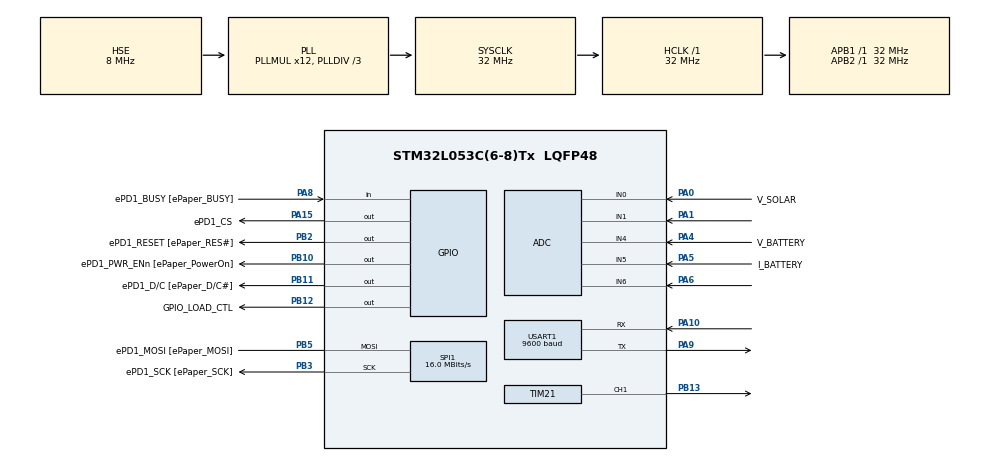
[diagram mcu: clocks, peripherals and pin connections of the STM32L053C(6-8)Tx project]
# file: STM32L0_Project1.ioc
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ADC.ClockPrescaler=ADC_CLOCK_ASYNC_DIV2
ADC.ContinuousConvMode=DISABLE
ADC.DMAContinuousRequests=ENABLE
ADC.DiscontinuousConvMode=ENABLE
ADC.EOCSelection=ADC_EOC_SEQ_CONV
ADC.EnableAnalogWatchDog=false
ADC.ExternalTrigConv=ADC_EXTERNALTRIGCONV_T6_TRGO
ADC.LowPowerAutoWait=DISABLE
ADC.LowPowerFrequencyMode=ENABLE
ADC.Overrun=ADC_OVR_DATA_PRESERVED
ADC.SamplingTime=ADC_SAMPLETIME_7CYCLES_5
Dma.ADC.0.Direction=DMA_PERIPH_TO_MEMORY
Dma.ADC.0.Instance=DMA1_Channel1
Dma.ADC.0.MemDataAlignment=DMA_MDATAALIGN_WORD
Dma.ADC.0.MemInc=DMA_MINC_ENABLE
Dma.ADC.0.Mode=DMA_CIRCULAR
Dma.ADC.0.PeriphDataAlignment=DMA_PDATAALIGN_WORD
Dma.ADC.0.PeriphInc=DMA_PINC_DISABLE
Dma.ADC.0.Priority=DMA_PRIORITY_MEDIUM
Dma.Request0=ADC
Dma.Request1=USART1_TX
Dma.USART1_TX.1.Direction=DMA_MEMORY_TO_PERIPH
Dma.USART1_TX.1.Instance=DMA1_Channel2
Dma.USART1_TX.1.MemDataAlignment=DMA_MDATAALIGN_BYTE
Dma.USART1_TX.1.MemInc=DMA_MINC_ENABLE
Dma.USART1_TX.1.Mode=DMA_NORMAL
Dma.USART1_TX.1.PeriphDataAlignment=DMA_PDATAALIGN_BYTE
Dma.USART1_TX.1.PeriphInc=DMA_PINC_DISABLE
Dma.USART1_TX.1.Priority=DMA_PRIORITY_LOW
Mcu.Family=STM32L0
Mcu.Name=STM32L053C(6-8)Tx
Mcu.Package=LQFP48
NVIC.DMA1_Channel1_IRQn=true\:0\:0\:false\:false\:true\:false\:true\:true
NVIC.DMA1_Channel2_3_IRQn=true\:0\:0\:false\:false\:true\:false\:true\:true
NVIC.USART1_IRQn=true\:0\:0\:false\:false\:true\:true\:true\:true
PA0.GPIO_Label=V_SOLAR
PA0.Mode=IN0
PA0.Signal=ADC_IN0
PA1.Mode=IN1
PA1.Signal=ADC_IN1
PA10.Mode=Asynchronous
PA10.Signal=USART1_RX
PA13.GPIO_Label=SWDIO
PA13.Mode=Serial_Wire
PA13.Signal=SYS_SWDIO
PA14.GPIO_Label=SWCLK
PA14.Mode=Serial_Wire
PA14.Signal=SYS_SWCLK
PA15.GPIO_Label=ePD1_CS
PA15.Signal=GPIO_Output
PA4.GPIO_Label=V_BATTERY
PA4.Mode=IN4
PA4.Signal=ADC_IN4
PA5.GPIO_Label=I_BATTERY
PA5.Mode=IN5
PA5.Signal=ADC_IN5
PA6.Mode=IN6
PA6.Signal=ADC_IN6
PA8.GPIO_Label=ePD1_BUSY [ePaper_BUSY]
PA8.GPIO_Mode=GPIO_MODE_INPUT
PA8.GPIO_PuPd=GPIO_NOPULL
PA8.Signal=GPIO_Input
PA9.Mode=Asynchronous
PA9.Signal=USART1_TX
PB10.GPIO_Label=ePD1_PWR_ENn [ePaper_PowerOn]
PB10.GPIO_ModeDefaultOutputPP=GPIO_MODE_OUTPUT_PP
PB10.GPIO_PuPd=GPIO_NOPULL
PB10.GPIO_Speed=GPIO_SPEED_FREQ_LOW
PB10.Signal=GPIO_Output
PB11.GPIO_Label=ePD1_D/C [ePaper_D/C\#]
PB11.GPIO_ModeDefaultOutputPP=GPIO_MODE_OUTPUT_PP
PB11.GPIO_PuPd=GPIO_NOPULL
PB11.GPIO_Speed=GPIO_SPEED_FREQ_LOW
PB11.Signal=GPIO_Output
PB12.GPIO_Label=GPIO_LOAD_CTL
PB12.GPIO_PuPd=GPIO_NOPULL
PB12.GPIO_Speed=GPIO_SPEED_FREQ_LOW
PB12.PinState=GPIO_PIN_RESET
PB12.Signal=GPIO_Output
PB13.Signal=S_TIM21_CH1
PB2.GPIO_Label=ePD1_RESET [ePaper_RES\#]
PB2.GPIO_ModeDefaultOutputPP=GPIO_MODE_OUTPUT_PP
PB2.GPIO_PuPd=GPIO_NOPULL
PB2.GPIO_Speed=GPIO_SPEED_FREQ_LOW
PB2.Signal=GPIO_Output
PB3.GPIO_Label=ePD1_SCK [ePaper_SCK]
PB3.GPIO_Mode=GPIO_MODE_AF_PP
PB3.GPIO_PuPd=GPIO_NOPULL
PB3.GPIO_Speed=GPIO_SPEED_FREQ_LOW
PB3.Mode=Simplex_Bidirectional_Master
PB3.Signal=SPI1_SCK
PB5.GPIO_Label=ePD1_MOSI [ePaper_MOSI]
PB5.GPIO_Mode=GPIO_MODE_AF_PP
PB5.GPIO_PuPd=GPIO_NOPULL
PB5.GPIO_Speed=GPIO_SPEED_FREQ_LOW
PB5.Mode=Simplex_Bidirectional_Master
PB5.Signal=SPI1_MOSI
PB8.GPIO_Label=MFX_I2C_SCL
PB8.GPIO_Pu=GPIO_PULLUP
PB8.Signal=I2C1_SCL
PB9.GPIO_Label=MFX_I2C_SDA
PB9.GPIO_Pu=GPIO_PULLUP
PB9.Signal=I2C1_SDA
PC14-OSC32_IN.GPIO_Label=PC14-OSC32_IN
PC14-OSC32_IN.Signal=RCC_OSC32_IN
PC15-OSC32_OUT.GPIO_Label=PC15-OSC32_OUT
PC15-OSC32_OUT.Signal=RCC_OSC32_OUT
PH0-OSC_IN.GPIO_Label=MCO
PH0-OSC_IN.Mode=HSE-External-Clock-Source
PH0-OSC_IN.Signal=RCC_OSC_IN
ProjectManager.HeapSize=0x200
ProjectManager.StackSize=0x400
ProjectManager.TargetToolchain=STM32CubeIDE
RCC.AHBFreq_Value=32000000
RCC.APB1Freq_Value=32000000
RCC.APB1TimFreq_Value=32000000
RCC.APB2Freq_Value=32000000
RCC.APB2TimFreq_Value=32000000
RCC.HCLKFreq_Value=32000000
RCC.HSE_VALUE=8000000
RCC.HSI16_VALUE=16000000
RCC.HSI48MClockSelection=RCC_USBCLKSOURCE_HSI48
RCC.HSI48_VALUE=48000000
RCC.HSI_VALUE=16000000
RCC.LSE_VALUE=32768
RCC.MSI_VALUE=2097000
RCC.PLLDIV=RCC_PLLDIV_3
RCC.PLLMUL=RCC_PLLMUL_12
RCC.PLLSourceVirtual=RCC_PLLSOURCE_HSE
RCC.RTCClockSelectionVirtual=RCC_RTCCLKSOURCE_LSE
RCC.SYSCLKFreq_VALUE=32000000
RCC.SYSCLKSource=RCC_SYSCLKSOURCE_PLLCLK
RCC.VCOOutputFreq_Value=96000000
SH.S_TIM21_CH1.0=TIM21_CH1,PWM Generation1 CH1
SPI1.CalculateBaudRate=16.0 MBits/s
SPI1.Direction=SPI_DIRECTION_1LINE
SPI1.Mode=SPI_MODE_MASTER
SPI1.NSS-Simplex_Bidirectional_Master=SPI_NSS_HARD_OUTPUT
SPI1.VirtualType=VM_MASTER
TIM21.Channel-PWM\ Generation1\ CH1=TIM_CHANNEL_1
TIM21.OCPolarity_1=TIM_OCPOLARITY_HIGH
TIM21.Period=640
TIM21.Pulse-PWM\ Generation1\ CH1=128
TIM6.AutoReloadPreload=TIM_AUTORELOAD_PRELOAD_DISABLE
TIM6.Period=1920
TIM6.TIM_MasterOutputTrigger=TIM_TRGO_UPDATE
USART1.BaudRate=9600
USART1.Mode=MODE_TX
USART1.VirtualMode-Asynchronous=VM_ASYNC
VP_TIM21_VS_ClockSourceINT.Mode=Internal
VP_TIM6_VS_ClockSourceINT.Mode=Enable_Timer
board=STM32L0538-DISCO

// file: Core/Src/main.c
/* USER CODE BEGIN Header */
/**
 ******************************************************************************
 * @file           : main.c
 * @brief          : Main program body
 ******************************************************************************
 * @attention
 *
 * Copyright (c) 2024 STMicroelectronics.
 * All rights reserved.
 *
 * This software is licensed under terms that can be found in the LICENSE file
 * in the root directory of this software component.
 * If no LICENSE file comes with this software, it is provided AS-IS.
 *
 ******************************************************************************
 */
/* USER CODE END Header */
#include "main.h"

/* USER CODE BEGIN Includes */
#include <stdio.h>
#include <stdlib.h>
#include <math.h>
#include <string.h>
#include "stm32l0538_discovery_epd.h"
#include "stm32l0538_discovery.h"
#include "images.c"
/* USER CODE END Includes */

/* USER CODE BEGIN PTD */
typedef enum {
	VBAT_LOW,
	VBAT_OK,
	VBAT_HIGH,
	VSOL_LOW,
	VSOL_OK,
	IBAT_LOW,
	NOTHING,
	MAX_EVENT
} Event;
typedef enum {
	START, IDLE, CHARGE_M, CHARGE_T, CHARGE_F, MAX_STATE
} State;
typedef void (*Action)(void);
typedef struct {
	Action to_do; // function pointer to current-state action
	State next_state; // next-state enumerator
} Table_Cell;
/* USER CODE END PTD */

/* USER CODE BEGIN PD */
#define pulse_max 630 // 640 is counter period
#define pulse_min 10
#define ADC_MAX 4095
#define VSOL_MAX 20.7
#define VBAT_MAX 15.0
#define VDDA 3.3
#define TEST_SOL_PERIOD 5

#define VSOL_OK_VOLTAGE 155
#define VBAT_OK_VOLTAGE 3228//12.5 with -0.795600322 Offset
#define VBAT_LOW_VOLTAGE 3021//11.75 with -0.795600322 Offset
#define VBAT_HIGH_VOLTAGE 3835//14.7 with -0.795600322 Offset
#define VOLTAGE_TOPPING 3697
#define VOLTAGE_FLOAT 3504
#define IBAT_LOW_CURRENT 81
#define ISOL_OK_CURRENT 10

#define VSOL_SCALE 6.446414182
#define VBAT_SCALE 3.86763813
#define ISOL_SCALE 2.014504432
#define IBAT_SCALE 4.029008864
#define ILOAD_SCALE 8.058017728

#define DVDB 100
#define DIDB 5
#define IVDB 0.03

/* USER CODE END PD */

ADC_HandleTypeDef hadc;
DMA_HandleTypeDef hdma_adc;

SPI_HandleTypeDef hspi1;

TIM_HandleTypeDef htim6;
TIM_HandleTypeDef htim21;

UART_HandleTypeDef huart1;
DMA_HandleTypeDef hdma_usart1_tx;

/* USER CODE BEGIN PV */
char aTxBuffer[60];
uint8_t aHeaderBuffer[] = "Event,State,Duty_Cycle,Voltage_Solar,Current_Solar,Voltage_Batter,Current_Battery\n";
uint8_t adc_conv_complt_flag;
uint32_t aResultDMA[5];
uint16_t TXBUFFERSIZE = (sizeof(aTxBuffer) / sizeof(*aTxBuffer)) - 1;
uint16_t v_sol, v_bat, i_sol, i_bat, i_load;
uint8_t loadState = 0;
uint8_t refTim = 0;

//remove these
int dV = 0;
int dI = 0;
uint16_t dIdV = 0;
uint16_t IV = 0;
uint16_t oldVolt = 0;
uint16_t oldCurrent = 0;
uint16_t voltage = 0;
uint16_t current = 0;
/* USER CODE END PV */

void SystemClock_Config(void);
static void MX_GPIO_Init(void);
static void MX_DMA_Init(void);
static void MX_SPI1_Init(void);
static void MX_ADC_Init(void);
static void MX_TIM21_Init(void);
static void MX_TIM6_Init(void);
static void MX_USART1_UART_Init(void);
/* USER CODE BEGIN PFP */
static int PWM_DC_Step(int dir, int size);
static int inc_Con(void);
static void do_nothing(void);
static void pwm_on(void);
static void pwm_off(void);
static void charge_t(void);
static void charge_f(void);
static void update_inputs(void);
static Event update_events(State current_s);
static void load_on(void);
static void load_off(void);
static void refreshDisplay(void);
static void logger(State current_state, Event current_event);
static void test_solar(void);

/* USER CODE END PFP */

/* USER CODE BEGIN 0 */
Table_Cell state_table[MAX_STATE][MAX_EVENT] = {
/*[0] VBAT_LOW            [1] VBAT_OK           [2] VBAT_HIGH           [3] VSOL_LOW            [4] VSOL_OK            5] IBAT_LOW             [6] NOTHING <--EVENTS |                  STATES */
{ { do_nothing, START }, { load_on, IDLE }, { do_nothing, START }, { do_nothing,
		START }, { pwm_on, CHARGE_M }, { do_nothing, START }, { do_nothing,
		START } },             // START
		{ { load_off, START }, { do_nothing, IDLE }, { do_nothing, IDLE }, {
				do_nothing, IDLE }, { pwm_on, CHARGE_M }, { do_nothing, IDLE },
				{ do_nothing, IDLE } },                   // IDLE
		{ { load_off, CHARGE_M }, { load_on, CHARGE_M },
				{ do_nothing, CHARGE_T }, { pwm_off, IDLE }, { do_nothing,
						CHARGE_M }, { do_nothing, CHARGE_M }, { do_nothing,
						CHARGE_M } }, // CHARGE_M
		{ { load_off, CHARGE_M }, { do_nothing, CHARGE_T }, { do_nothing,
				CHARGE_T }, { pwm_off, IDLE }, { do_nothing, CHARGE_T }, {
				do_nothing, CHARGE_F }, { do_nothing, CHARGE_T } }, // CHARGE_T
		{ { load_off, CHARGE_M }, { do_nothing, CHARGE_F }, { do_nothing,
				CHARGE_F }, { pwm_off, IDLE }, { do_nothing, CHARGE_F }, {
				do_nothing, CHARGE_F }, { do_nothing, CHARGE_F } } // CHARGE_F
};
const char *event_names[] = { "VBAT_LOW", "VBAT_OK", "VBAT_HIGH", "VSOL_LOW",
		"VSOL_OK", "IBAT_LOW", "NOTHING" };
const char *state_names[] = { "START", "IDLE", "CHARGE_M", "CHARGE_T",
		"CHARGE_F", "MAX_STATE" };
/*
/* USER CODE END 0 */

int main(void)
{

  /* USER CODE BEGIN 1 */
	/* State machine variables*/
    Table_Cell state_cell;
    Event current_event, last_event;
    State current_state, last_state;
    current_state = START ; // initial state

	int numWritten;
  /* USER CODE END 1 */

  /* MCU Configuration--------------------------------------------------------*/

  /* Reset of all peripherals, Initializes the Flash interface and the Systick. */
  HAL_Init();

  /* Configure the system clock */
  SystemClock_Config();

  /* Initialize all configured peripherals */
  MX_GPIO_Init();
  MX_DMA_Init();
  MX_SPI1_Init();
  MX_ADC_Init();
  MX_TIM21_Init();
  MX_TIM6_Init();
  MX_USART1_UART_Init();
  /* USER CODE BEGIN 2 */
	BSP_EPD_Init();
	refreshDisplay();
	HAL_Delay(5000);
	update_inputs();
	oldVolt = v_sol;
	oldCurrent = i_sol;
  /* USER CODE END 2 */

  /* Infinite loop */
  /* USER CODE BEGIN WHILE */

	int test_sol_timer = 0;
	while (1) {
		test_sol_timer++;
        current_event = update_events(current_state);

		if(current_event != last_event){
			logger(current_state, current_event);
			last_event = current_event;
		}

		state_cell = state_table[current_state][current_event];
		state_cell.to_do(); // execute the appropriate action
		current_state = state_cell.next_state; // transition to the new state

		switch (current_state) {
		case CHARGE_M:
			int result = inc_Con();
			break;
		case CHARGE_T:
			charge_t();
			break;
		case CHARGE_F:
			charge_f();
			break;
		case START:
			if(test_sol_timer < TEST_SOL_PERIOD){break;}
			test_solar();
			test_sol_timer = 0;
			break;
		case IDLE:
			if(test_sol_timer < TEST_SOL_PERIOD){break;}
			test_solar();
			test_sol_timer = 0;
			break;
		default:
			break;
		}
		refTim++;
		if (refTim >= 2) {
			refreshDisplay();
			refTim = 0;
		}
	}
    /* USER CODE END WHILE */

}

void SystemClock_Config(void)
{
  RCC_OscInitTypeDef RCC_OscInitStruct = {0};
  RCC_ClkInitTypeDef RCC_ClkInitStruct = {0};
  RCC_PeriphCLKInitTypeDef PeriphClkInit = {0};

  /** Configure the main internal regulator output voltage
  */
  __HAL_PWR_VOLTAGESCALING_CONFIG(PWR_REGULATOR_VOLTAGE_SCALE1);

  /** Initializes the RCC Oscillators according to the specified parameters
  * in the RCC_OscInitTypeDef structure.
  */
  RCC_OscInitStruct.OscillatorType = RCC_OSCILLATORTYPE_HSI|RCC_OSCILLATORTYPE_HSE;
  RCC_OscInitStruct.HSEState = RCC_HSE_BYPASS;
  RCC_OscInitStruct.HSIState = RCC_HSI_ON;
  RCC_OscInitStruct.HSICalibrationValue = RCC_HSICALIBRATION_DEFAULT;
  RCC_OscInitStruct.PLL.PLLState = RCC_PLL_ON;
  RCC_OscInitStruct.PLL.PLLSource = RCC_PLLSOURCE_HSE;
  RCC_OscInitStruct.PLL.PLLMUL = RCC_PLLMUL_12;
  RCC_OscInitStruct.PLL.PLLDIV = RCC_PLLDIV_3;
  if (HAL_RCC_OscConfig(&RCC_OscInitStruct) != HAL_OK)
  {
    Error_Handler();
  }

  /** Initializes the CPU, AHB and APB buses clocks
  */
  RCC_ClkInitStruct.ClockType = RCC_CLOCKTYPE_HCLK|RCC_CLOCKTYPE_SYSCLK
                              |RCC_CLOCKTYPE_PCLK1|RCC_CLOCKTYPE_PCLK2;
  RCC_ClkInitStruct.SYSCLKSource = RCC_SYSCLKSOURCE_PLLCLK;
  RCC_ClkInitStruct.AHBCLKDivider = RCC_SYSCLK_DIV1;
  RCC_ClkInitStruct.APB1CLKDivider = RCC_HCLK_DIV1;
  RCC_ClkInitStruct.APB2CLKDivider = RCC_HCLK_DIV1;

  if (HAL_RCC_ClockConfig(&RCC_ClkInitStruct, FLASH_LATENCY_1) != HAL_OK)
  {
    Error_Handler();
  }
  PeriphClkInit.PeriphClockSelection = RCC_PERIPHCLK_USART1;
  PeriphClkInit.Usart1ClockSelection = RCC_USART1CLKSOURCE_PCLK2;
  if (HAL_RCCEx_PeriphCLKConfig(&PeriphClkInit) != HAL_OK)
  {
    Error_Handler();
  }
}

static void MX_ADC_Init(void)
{

  ADC_ChannelConfTypeDef sConfig = {0};

  /** Configure the global features of the ADC (Clock, Resolution, Data Alignment and number of conversion)
  */
  hadc.Instance = ADC1;
  hadc.Init.OversamplingMode = DISABLE;
  hadc.Init.ClockPrescaler = ADC_CLOCK_ASYNC_DIV2;
  hadc.Init.Resolution = ADC_RESOLUTION_12B;
  hadc.Init.SamplingTime = ADC_SAMPLETIME_7CYCLES_5;
  hadc.Init.ScanConvMode = ADC_SCAN_DIRECTION_FORWARD;
  hadc.Init.DataAlign = ADC_DATAALIGN_RIGHT;
  hadc.Init.ContinuousConvMode = DISABLE;
  hadc.Init.DiscontinuousConvMode = ENABLE;
  hadc.Init.ExternalTrigConvEdge = ADC_EXTERNALTRIGCONVEDGE_RISING;
  hadc.Init.ExternalTrigConv = ADC_EXTERNALTRIGCONV_T6_TRGO;
  hadc.Init.DMAContinuousRequests = ENABLE;
  hadc.Init.EOCSelection = ADC_EOC_SEQ_CONV;
  hadc.Init.Overrun = ADC_OVR_DATA_PRESERVED;
  hadc.Init.LowPowerAutoWait = DISABLE;
  hadc.Init.LowPowerFrequencyMode = ENABLE;
  hadc.Init.LowPowerAutoPowerOff = DISABLE;
  if (HAL_ADC_Init(&hadc) != HAL_OK)
  {
    Error_Handler();
  }

  /** Configure for the selected ADC regular channel to be converted.
  */
  sConfig.Channel = ADC_CHANNEL_0;
  sConfig.Rank = ADC_RANK_CHANNEL_NUMBER;
  if (HAL_ADC_ConfigChannel(&hadc, &sConfig) != HAL_OK)
  {
    Error_Handler();
  }

  /** Configure for the selected ADC regular channel to be converted.
  */
  sConfig.Channel = ADC_CHANNEL_1;
  if (HAL_ADC_ConfigChannel(&hadc, &sConfig) != HAL_OK)
  {
    Error_Handler();
  }

  /** Configure for the selected ADC regular channel to be converted.
  */
  sConfig.Channel = ADC_CHANNEL_4;
  if (HAL_ADC_ConfigChannel(&hadc, &sConfig) != HAL_OK)
  {
    Error_Handler();
  }

  /** Configure for the selected ADC regular channel to be converted.
  */
  sConfig.Channel = ADC_CHANNEL_5;
  if (HAL_ADC_ConfigChannel(&hadc, &sConfig) != HAL_OK)
  {
    Error_Handler();
  }

  /** Configure for the selected ADC regular channel to be converted.
  */
  sConfig.Channel = ADC_CHANNEL_6;
  if (HAL_ADC_ConfigChannel(&hadc, &sConfig) != HAL_OK)
  {
    Error_Handler();
  }
  /* USER CODE BEGIN ADC_Init 2 */
	HAL_ADCEx_Calibration_Start(&hadc, ADC_SINGLE_ENDED);

  /* USER CODE END ADC_Init 2 */

}

static void MX_SPI1_Init(void)
{

  /* SPI1 parameter configuration*/
  hspi1.Instance = SPI1;
  hspi1.Init.Mode = SPI_MODE_MASTER;
  hspi1.Init.Direction = SPI_DIRECTION_1LINE;
  hspi1.Init.DataSize = SPI_DATASIZE_8BIT;
  hspi1.Init.CLKPolarity = SPI_POLARITY_LOW;
  hspi1.Init.CLKPhase = SPI_PHASE_1EDGE;
  hspi1.Init.NSS = SPI_NSS_SOFT;
  hspi1.Init.BaudRatePrescaler = SPI_BAUDRATEPRESCALER_2;
  hspi1.Init.FirstBit = SPI_FIRSTBIT_MSB;
  hspi1.Init.TIMode = SPI_TIMODE_DISABLE;
  hspi1.Init.CRCCalculation = SPI_CRCCALCULATION_DISABLE;
  hspi1.Init.CRCPolynomial = 7;
  if (HAL_SPI_Init(&hspi1) != HAL_OK)
  {
    Error_Handler();
  }

}

static void MX_TIM6_Init(void)
{

  TIM_MasterConfigTypeDef sMasterConfig = {0};

  htim6.Instance = TIM6;
  htim6.Init.Prescaler = 0;
  htim6.Init.CounterMode = TIM_COUNTERMODE_UP;
  htim6.Init.Period = 1920;
  htim6.Init.AutoReloadPreload = TIM_AUTORELOAD_PRELOAD_DISABLE;
  if (HAL_TIM_Base_Init(&htim6) != HAL_OK)
  {
    Error_Handler();
  }
  sMasterConfig.MasterOutputTrigger = TIM_TRGO_UPDATE;
  sMasterConfig.MasterSlaveMode = TIM_MASTERSLAVEMODE_DISABLE;
  if (HAL_TIMEx_MasterConfigSynchronization(&htim6, &sMasterConfig) != HAL_OK)
  {
    Error_Handler();
  }
  /* USER CODE BEGIN TIM6_Init 2 */
	if (HAL_TIM_Base_Start(&htim6) != HAL_OK) {
		/* Starting Error */
		Error_Handler();
	}
  /* USER CODE END TIM6_Init 2 */

}

static void MX_TIM21_Init(void)
{

  TIM_ClockConfigTypeDef sClockSourceConfig = {0};
  TIM_MasterConfigTypeDef sMasterConfig = {0};
  TIM_OC_InitTypeDef sConfigOC = {0};

  htim21.Instance = TIM21;
  htim21.Init.Prescaler = 0;
  htim21.Init.CounterMode = TIM_COUNTERMODE_UP;
  htim21.Init.Period = 640;
  htim21.Init.ClockDivision = TIM_CLOCKDIVISION_DIV1;
  htim21.Init.AutoReloadPreload = TIM_AUTORELOAD_PRELOAD_DISABLE;
  if (HAL_TIM_Base_Init(&htim21) != HAL_OK)
  {
    Error_Handler();
  }
  sClockSourceConfig.ClockSource = TIM_CLOCKSOURCE_INTERNAL;
  if (HAL_TIM_ConfigClockSource(&htim21, &sClockSourceConfig) != HAL_OK)
  {
    Error_Handler();
  }
  if (HAL_TIM_PWM_Init(&htim21) != HAL_OK)
  {
    Error_Handler();
  }
  sMasterConfig.MasterOutputTrigger = TIM_TRGO_RESET;
  sMasterConfig.MasterSlaveMode = TIM_MASTERSLAVEMODE_DISABLE;
  if (HAL_TIMEx_MasterConfigSynchronization(&htim21, &sMasterConfig) != HAL_OK)
  {
    Error_Handler();
  }
  sConfigOC.OCMode = TIM_OCMODE_PWM1;
  sConfigOC.Pulse = 128;
  sConfigOC.OCPolarity = TIM_OCPOLARITY_HIGH;
  sConfigOC.OCFastMode = TIM_OCFAST_DISABLE;
  if (HAL_TIM_PWM_ConfigChannel(&htim21, &sConfigOC, TIM_CHANNEL_1) != HAL_OK)
  {
    Error_Handler();
  }
  HAL_TIM_MspPostInit(&htim21);

}

static void MX_USART1_UART_Init(void)
{

  huart1.Instance = USART1;
  huart1.Init.BaudRate = 9600;
  huart1.Init.WordLength = UART_WORDLENGTH_8B;
  huart1.Init.StopBits = UART_STOPBITS_1;
  huart1.Init.Parity = UART_PARITY_NONE;
  huart1.Init.Mode = UART_MODE_TX;
  huart1.Init.HwFlowCtl = UART_HWCONTROL_NONE;
  huart1.Init.OverSampling = UART_OVERSAMPLING_16;
  huart1.Init.OneBitSampling = UART_ONE_BIT_SAMPLE_DISABLE;
  huart1.AdvancedInit.AdvFeatureInit = UART_ADVFEATURE_NO_INIT;
  if (HAL_UART_Init(&huart1) != HAL_OK)
  {
    Error_Handler();
  }

}

static void MX_DMA_Init(void)
{

  /* DMA controller clock enable */
  __HAL_RCC_DMA1_CLK_ENABLE();

  /* DMA interrupt init */
  /* DMA1_Channel1_IRQn interrupt configuration */
  HAL_NVIC_SetPriority(DMA1_Channel1_IRQn, 0, 0);
  HAL_NVIC_EnableIRQ(DMA1_Channel1_IRQn);
  /* DMA1_Channel2_3_IRQn interrupt configuration */
  HAL_NVIC_SetPriority(DMA1_Channel2_3_IRQn, 0, 0);
  HAL_NVIC_EnableIRQ(DMA1_Channel2_3_IRQn);

}

static void MX_GPIO_Init(void)
{
  GPIO_InitTypeDef GPIO_InitStruct = {0};

  /* GPIO Ports Clock Enable */
  __HAL_RCC_GPIOC_CLK_ENABLE();
  __HAL_RCC_GPIOH_CLK_ENABLE();
  __HAL_RCC_GPIOA_CLK_ENABLE();
  __HAL_RCC_GPIOB_CLK_ENABLE();

  /*Configure GPIO pin Output Level */
  HAL_GPIO_WritePin(GPIOB, ePD1_RESET_Pin|ePD1_PWR_ENn_Pin|ePD1_D_C_Pin|GPIO_LOAD_CTL_Pin, GPIO_PIN_RESET);

  /*Configure GPIO pin Output Level */
  HAL_GPIO_WritePin(ePD1_CS_GPIO_Port, ePD1_CS_Pin, GPIO_PIN_RESET);

  /*Configure GPIO pins : ePD1_RESET_Pin ePD1_PWR_ENn_Pin ePD1_D_C_Pin GPIO_LOAD_CTL_Pin */
  GPIO_InitStruct.Pin = ePD1_RESET_Pin|ePD1_PWR_ENn_Pin|ePD1_D_C_Pin|GPIO_LOAD_CTL_Pin;
  GPIO_InitStruct.Mode = GPIO_MODE_OUTPUT_PP;
  GPIO_InitStruct.Pull = GPIO_NOPULL;
  GPIO_InitStruct.Speed = GPIO_SPEED_FREQ_LOW;
  HAL_GPIO_Init(GPIOB, &GPIO_InitStruct);

  /*Configure GPIO pin : ePD1_BUSY_Pin */
  GPIO_InitStruct.Pin = ePD1_BUSY_Pin;
  GPIO_InitStruct.Mode = GPIO_MODE_INPUT;
  GPIO_InitStruct.Pull = GPIO_NOPULL;
  HAL_GPIO_Init(ePD1_BUSY_GPIO_Port, &GPIO_InitStruct);

  /*Configure GPIO pin : ePD1_CS_Pin */
  GPIO_InitStruct.Pin = ePD1_CS_Pin;
  GPIO_InitStruct.Mode = GPIO_MODE_OUTPUT_PP;
  GPIO_InitStruct.Pull = GPIO_NOPULL;
  GPIO_InitStruct.Speed = GPIO_SPEED_FREQ_LOW;
  HAL_GPIO_Init(ePD1_CS_GPIO_Port, &GPIO_InitStruct);

  /*Configure GPIO pins : MFX_I2C_SCL_Pin MFX_I2C_SDA_Pin */
  GPIO_InitStruct.Pin = MFX_I2C_SCL_Pin|MFX_I2C_SDA_Pin;
  GPIO_InitStruct.Mode = GPIO_MODE_AF_OD;
  GPIO_InitStruct.Pull = GPIO_PULLUP;
  GPIO_InitStruct.Speed = GPIO_SPEED_FREQ_VERY_HIGH;
  GPIO_InitStruct.Alternate = GPIO_AF4_I2C1;
  HAL_GPIO_Init(GPIOB, &GPIO_InitStruct);

}

/* USER CODE BEGIN 4 */
// function definitions funcdef
/* increments the duty cycle of the PWM in direction "dir" by value "size"
 * @ param dir = 1 for up, 0 for down
 * @ param size is increment value
 * @ returns 0 for success, 1 if limit is hit */
static int PWM_DC_Step(int dir, int size) {
	int status = 0;
	int pulse = TIM21->CCR1;
	if (dir) {
		pulse += size;
	} else {
		pulse -= size;
	}
	if (pulse >= pulse_max) {
		pulse = pulse_max;
		status = 1;
	}
	if (pulse <= pulse_min) {
		pulse = pulse_min;
		status = 1;
	}
	TIM21->CCR1 = pulse;
	return status;
}
/* MPPT Algorithm
 * @Takes a pointer to the voltage and current from the output
 * @of the solar panel and performs the incremental conductance algorithm.
 * @Modifies the PWM output based on dV and dI.  */
static int inc_Con(void) {
	char exit = 0;
	char status = 0;
	char state = 0;
//	int dV = 0;
//	int dI = 0;
//	float dIdV = 0;
//	float IV = 0;
//	uint16_t oldVolt = v_sol;
//	uint16_t oldCurrent = i_sol;
	HAL_Delay(50);
	update_inputs();
//	uint16_t voltage = v_sol;
//	uint16_t current = i_sol;
	voltage = v_sol;
	current = i_sol;
	if (current < ISOL_OK_CURRENT) { //if current less than ~400mA then increase duty cycle by ~10%
		state = 5;
	}
	if (voltage < VSOL_OK_VOLTAGE){
		state = 6;
	}
	dV = voltage - oldVolt;
	dI = current - oldCurrent;
	if (dV >= (-DVDB) && dV <= DVDB) {
		dV = 0;
	}
	if (dI >= (-DIDB) && dI <= DIDB) {
		dI = 0;
	}
	if (dV == 0) {
		dIdV = 10000; //arbitrarily 10k to simulate inf state when dV = 0
	} else {
		dIdV = (((float) dI) / ((float) dV)) * 1000;
	}
	IV = (-(float) current / (float) voltage) * 1000;
//	if (IV >= -0.035 && IV <= -0.001) {
//		IV = 0;
//	}

	while (exit == 0) {
		switch (state) {
		case 0:
			if (dV == 0) {
				state = 1;
				break;
			} else {
				state = 2;
				break;
			}
		case 1:
			if (dI == 0) {
				state = 0;
				status = 0;
				exit = 1;
				break;
			} else {
				state = 3;
				break;
			}
		case 2:
			if (dIdV == IV) {
				state = 0;
				status = 0;
				exit = 1;
				break;
			} else {
				state = 4;
				break;
			}
		case 3:
			if (dI > 0) {
				status = PWM_DC_Step(1, 20);
				state = 0;
				exit = 1;
				break;
			} else {
				status = PWM_DC_Step(0, 20);
				state = 0;
				exit = 1;
				break;
			}
		case 4:
			if (dIdV > (IV)) {
				status = PWM_DC_Step(0, 20);
				state = 0;
				exit = 1;
				break;
			} else {
				status = PWM_DC_Step(1, 20);
				state = 0;
				exit = 1;
				break;
			}
		case 5:
			status = PWM_DC_Step(1, 7);
			state = 0;
			exit = 1;
			break;
		case 6:
			status = PWM_DC_Step(0,7);
			state = 0;
			exit = 1;
		default:
			status = 1;
			exit = 1;
			break;
		}
	}
	oldVolt = v_sol;
	oldCurrent = i_sol;
	return (status);
}

/* Refreshes screen
 * @Uses a temp char array to hold value of current and voltage scaled to milli.
 * @Displays a sun or moon depending on if solar voltage is higher or lower than battery voltage
 * @Refreshes that bad boy  */
void refreshDisplay(void) {
	//v_sol = (rand() % (4095 - 0 + 1)) + 0;
	int tempVal = v_sol * VSOL_SCALE;
	char tempStr[6]; //Should be good up to 99999 mA/mV
	sprintf(tempStr, "%i", tempVal);
	BSP_EPD_Clear(EPD_COLOR_WHITE);
	BSP_EPD_SetFont(&Font12);
	BSP_EPD_DisplayStringAt(1, 0, "Panel Voltage is: ", LEFT_MODE);
	BSP_EPD_DisplayStringAt(130, 0, tempStr, LEFT_MODE);
	BSP_EPD_DisplayStringAt(170, 0, "mV", LEFT_MODE);
	//test = 1337; //test variable, replace with I_sol and scale to mA
	//i_sol = (rand() % (4095 - 0 + 1)) + 0;
	tempVal = i_sol * ISOL_SCALE;
	sprintf(tempStr, "%i", tempVal);
	BSP_EPD_DisplayStringAt(1, 3, "Panel Current is: ", LEFT_MODE);
	BSP_EPD_DisplayStringAt(130, 3, tempStr, LEFT_MODE);
	BSP_EPD_DisplayStringAt(170, 3, "mA", LEFT_MODE);
	//test = 12312; //test variable, replace with v_bat and scale to mV
	//v_bat = (rand() % (4095 - 0 + 1)) + 0;
	tempVal = v_bat * VBAT_SCALE;
	sprintf(tempStr, "%i", tempVal);
	BSP_EPD_DisplayStringAt(1, 6, "Battery Voltage is: ", LEFT_MODE);
	BSP_EPD_DisplayStringAt(140, 6, tempStr, LEFT_MODE);
	BSP_EPD_DisplayStringAt(180, 6, "mV", LEFT_MODE);
	//test = 1613; //test variable, replace with I_bat and scale to mA
	//i_bat = (rand() % (4095 - 0 + 1)) + 0;
	tempVal = i_bat * IBAT_SCALE;
	sprintf(tempStr, "%i", tempVal);
	BSP_EPD_DisplayStringAt(1, 9, "Battery Current is: ", LEFT_MODE);
	BSP_EPD_DisplayStringAt(140, 9, tempStr, LEFT_MODE);
	BSP_EPD_DisplayStringAt(180, 9, "mA", LEFT_MODE);
	if (v_sol >= VSOL_OK_VOLTAGE) {
		BSP_EPD_DisplayStringAt(1, 12, "Solar Present", LEFT_MODE);
		BSP_EPD_DrawImage(200, 0, 30, 45, Sun);
	} else {
		BSP_EPD_DisplayStringAt(1, 12, "Solar Hidden", LEFT_MODE);
		BSP_EPD_DrawImage(200, 0, 30, 45, Moon);
	}
	if (v_bat < VBAT_LOW_VOLTAGE) {
		BSP_EPD_DisplayStringAt(95, 12, "|Batt Low", LEFT_MODE);
		BSP_EPD_DrawImage(200, 6, 30, 45, batLow);
	} else if (v_bat >= VBAT_OK_VOLTAGE && v_bat <= VBAT_HIGH_VOLTAGE) {
		BSP_EPD_DisplayStringAt(95, 12, "|Batt Charge", LEFT_MODE);
		BSP_EPD_DrawImage(200, 6, 30, 45, batCharge);
	} else {
		BSP_EPD_DisplayStringAt(95, 12, "|Batt Full", LEFT_MODE);
		BSP_EPD_DrawImage(200, 6, 30, 45, batFull);
	}
	if (loadState == 0) {
		BSP_EPD_DisplayStringAt(185, 12, "|Load Off", LEFT_MODE);
	} else {
		BSP_EPD_DisplayStringAt(185, 12, "|Load On", LEFT_MODE);
	}
	BSP_EPD_RefreshDisplay();
}

/*    [0] VBAT_LOW    [1] VBAT_OK   [2] VBAT_HIGH  [3] VSOL_LOW     [4] VSOL_OK    [5] IBAT_LOW     <--EVENTS | STATES */
static Event update_events(State current_s) { // START, IDLE , CHARGE_M, CHARGE_T, CHARGE_F, MAX_STATE
	update_inputs();
	Event return_event = NOTHING;
	switch (current_s) {
	case START:
		if (v_bat >= VBAT_OK_VOLTAGE) {
			return_event = VBAT_OK;
		} else if ((v_sol >= VSOL_OK_VOLTAGE) && (i_sol >= ISOL_OK_CURRENT)) {
			return_event = VSOL_OK;
		}
		break;
	case IDLE:
		if (v_bat < VBAT_LOW_VOLTAGE) {
			return_event = VBAT_LOW;
		} else if ((v_sol >= VSOL_OK_VOLTAGE) && (i_sol >= ISOL_OK_CURRENT)) {
			return_event = VSOL_OK;
		}
		break;
	case CHARGE_M:
		if (v_bat >= VBAT_HIGH_VOLTAGE) {
			return_event = VBAT_HIGH;
		} else if ((v_sol < VSOL_OK_VOLTAGE) && (i_sol < ISOL_OK_CURRENT)) {
			return_event = VSOL_LOW;
		} else if (v_bat >= VBAT_OK_VOLTAGE) {
			return_event = VBAT_OK;
		} else if (v_bat < VBAT_LOW_VOLTAGE) {
			return_event = VBAT_LOW;
		}
		break;
	case CHARGE_T:
		if (i_bat < IBAT_LOW_CURRENT) {
			return_event = IBAT_LOW;
		} else if ((v_sol < VSOL_OK_VOLTAGE) && (i_sol < ISOL_OK_CURRENT)) {
			return_event = VSOL_LOW;
		} else if (v_bat < VBAT_LOW_VOLTAGE) {
			return_event = VBAT_LOW;
		}
		break;
	case CHARGE_F:
		if (v_bat < VBAT_LOW_VOLTAGE) {
			return_event = VBAT_LOW;
		} else if ((v_sol < VSOL_OK_VOLTAGE) && (i_sol < ISOL_OK_CURRENT)) {
			return_event = VSOL_LOW;
		}
		break;
	default:
		return_event = NOTHING; // maybe add a fault state
		break;
	}
	return return_event;
}
void pwm_on(void) {
	// Turn on PWM
	HAL_TIM_PWM_Start(&htim21, TIM_CHANNEL_1);
}
void pwm_off(void) {
	// Turn on PWM
	HAL_TIM_PWM_Stop(&htim21, TIM_CHANNEL_1);
	TIM21->CCR1 = 128;
}
void load_on(void) {
	// Turn load on GPIO PIN
	HAL_GPIO_WritePin(GPIOB, GPIO_LOAD_CTL_Pin, GPIO_PIN_SET);
	loadState = 1;
}
void load_off(void) {
	// Turn load off GPIO PIN
	HAL_GPIO_WritePin(GPIOB, GPIO_LOAD_CTL_Pin, GPIO_PIN_RESET);
	loadState = 0;
}
void do_nothing(void) {
	printf("do_nothing\n");
}
void charge_t(void) {
	float error;
	float step;
	char status;
	update_inputs();
	error = VOLTAGE_TOPPING - v_bat;
	step = abs(round(error));
	if (step > 64) {
		step = 64;
	}
	if (error > 0) {
		status = PWM_DC_Step(1, step);
	} else if (error < 0) {
		status = PWM_DC_Step(0, step);
	}
}
void charge_f(void) {
	float error;
	float step;
	char status;
	update_inputs();
	error = VOLTAGE_FLOAT - v_bat;
	step = abs(round(error));
	if (step > 64) {
		step = 64;
	}
	if (error > 0) {
		status = PWM_DC_Step(1, step);
	} else if (error < 0) {
		status = PWM_DC_Step(0, step);
	}
}
void update_inputs(void) {
	uint8_t sample_factor = 7;
	uint16_t NSAMPLES = 1 << sample_factor;
	uint32_t sum0 = 0;
	uint32_t sum1 = 0;
	uint32_t sum2 = 0;
	uint32_t sum3 = 0;
	uint32_t sum4 = 0;
	HAL_ADC_Start_DMA(&hadc, aResultDMA, 5);
	for (uint16_t i = 0; i < NSAMPLES; i++) {
		adc_conv_complt_flag = 1;
		while (adc_conv_complt_flag) {
		}; // wait for ADC conversion to complete
		sum0 += aResultDMA[0];
		sum1 += aResultDMA[1];
		sum2 += aResultDMA[2];
		sum3 += aResultDMA[3];
		sum4 += aResultDMA[4];
	}
	HAL_ADC_Stop_DMA(&hadc);
	// update inputs from ADC values
	v_sol = (sum0 >> sample_factor);
	i_sol = (sum1 >> sample_factor);
	v_bat = (sum2 >> sample_factor);
	i_bat = (sum3 >> sample_factor);
	i_load = (sum4 >> sample_factor);
}

static void logger(State current_state, Event current_event){
	memset(aTxBuffer,0,strlen(aTxBuffer));
	sprintf(aTxBuffer, "%s,%s,%lu,%u,%u,%u,%u,%u\n", state_names[current_state], event_names[current_event], TIM21->CCR1, v_sol, i_sol, v_bat, i_bat, i_load);
	HAL_UART_Transmit_DMA(&huart1, (uint8_t*)aTxBuffer, strlen(aTxBuffer));
}
static void test_solar(void){
	pwm_on();
	HAL_Delay(500);
	update_inputs();
	pwm_off();
}
void USARTx_IRQHandler(void) {
	HAL_UART_IRQHandler(&huart1);
	return;
}

void HAL_ADC_ConvCpltCallback(ADC_HandleTypeDef *hadc) {
	adc_conv_complt_flag = 0;
	return;
}
/* USER CODE END 4 */

void Error_Handler(void)
{
	__disable_irq();
	while (1) {
	}
}
